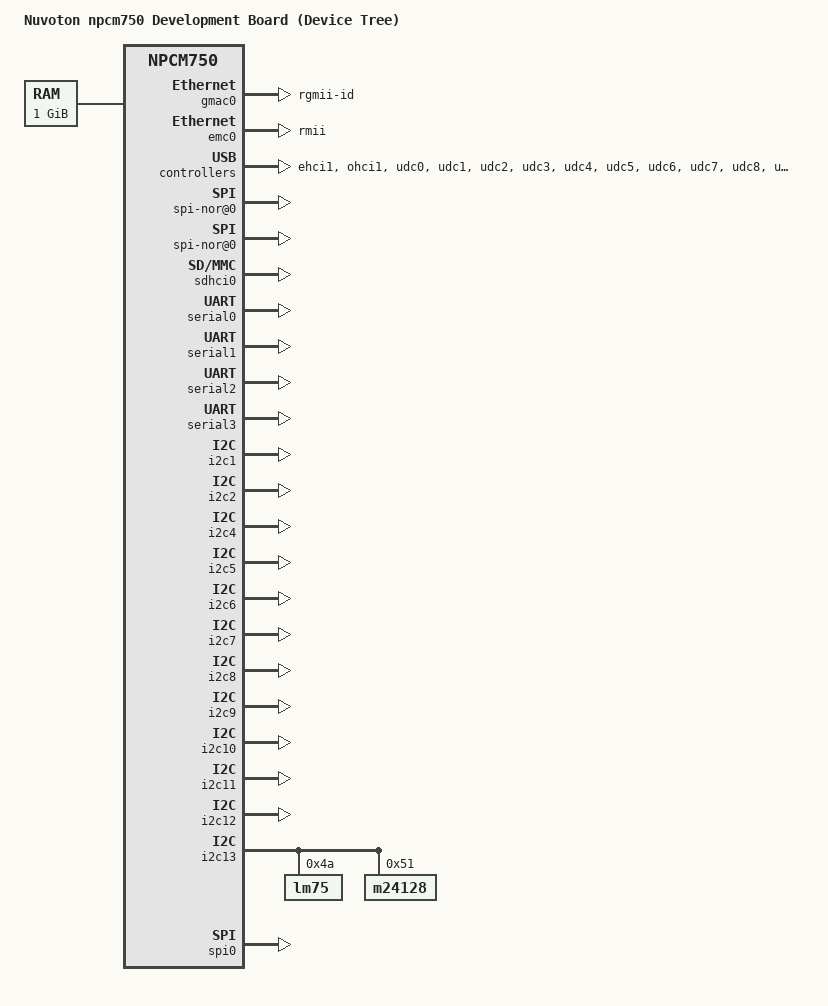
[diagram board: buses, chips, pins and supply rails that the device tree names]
// SPDX-License-Identifier: GPL-2.0
// Copyright (c) 2018 Nuvoton Technology tomer.maimon@nuvoton.com
// Copyright 2018 Google, Inc.

/dts-v1/;
#include "nuvoton-npcm750.dtsi"

/ {
	model = "Nuvoton npcm750 Development Board (Device Tree)";
	compatible = "nuvoton,npcm750";

	aliases {
		ethernet0 = &emc0;
		ethernet1 = &gmac0;
		serial0 = &serial0;
		serial1 = &serial1;
		serial2 = &serial2;
		serial3 = &serial3;
		udc0 = &udc0;
		udc1 = &udc1;
		udc2 = &udc2;
		udc3 = &udc3;
		udc4 = &udc4;
		udc5 = &udc5;
		udc6 = &udc6;
		udc7 = &udc7;
		udc8 = &udc8;
		udc9 = &udc9;
		emmc0 = &sdhci0;
		i2c0 = &i2c0;
		i2c1 = &i2c1;
		i2c2 = &i2c2;
		i2c3 = &i2c3;
		i2c4 = &i2c4;
		i2c5 = &i2c5;
		i2c6 = &i2c6;
		i2c7 = &i2c7;
		i2c8 = &i2c8;
		i2c9 = &i2c9;
		i2c10 = &i2c10;
		i2c11 = &i2c11;
		i2c12 = &i2c12;
		i2c13 = &i2c13;
		i2c14 = &i2c14;
		i2c15 = &i2c15;
		spi0 = &spi0;
		spi1 = &spi1;
		fiu0 = &fiu0;
		fiu1 = &fiu3;
		fiu2 = &fiux;
	};

	chosen {
		stdout-path = &serial3;
	};

	memory {
		reg = <0 0x40000000>;
	};

	ahb {
	    gmac0: eth@f0802000 {
			reg = <0xf0802000 0x2000
			       0xf0826000 0x0304>;
			phy-mode = "rgmii-id";
			pinctrl-0 = <&rg1_pins
			             &r2md_pins>;
			status = "okay";
		};

		emc0: eth@f0825000 {
			phy-mode = "rmii";
			#use-ncsi; /* add this to support ncsi */
			status = "okay";
		};

		ehci1: usb@f0806000 {
			status = "okay";
		};

		ohci1: ohci@f0807000 {
			status = "okay";
		};

		udc0:udc@f0830000 {
			status = "okay";
		};

		udc1:udc@f0831000 {
			status = "okay";
		};

		udc2:udc@f0832000 {
			status = "okay";
		};

		udc3:udc@f0833000 {
			status = "okay";
		};

		udc4:udc@f0834000 {
			status = "okay";
		};

		udc5:udc@f0835000 {
			status = "okay";
		};

		udc6:udc@f0836000 {
			status = "okay";
		};

		udc7:udc@f0837000 {
			status = "okay";
		};

		udc8:udc@f0838000 {
			status = "okay";
		};

		udc9:udc@f0839000 {
			status = "okay";
		};

		aes:aes@f0858000 {
			status = "okay";
		};

		sha:sha@f085a000 {
			status = "okay";
		};

		fiu0: fiu@fb000000 {
			status = "okay";
			spi-nor@0 {
				compatible = "jedec,spi-nor";
				#address-cells = <1>;
				#size-cells = <1>;
				spi-rx-bus-width = <2>;
				reg = <0>;				
				partitions@80000000 {
					compatible = "fixed-partitions";
					#address-cells = <1>;
					#size-cells = <1>;
					bbuboot1@0 {
						label = "bb-uboot-1";
						reg = <0x0000000 0x80000>;
						read-only;
						};
					bbuboot2@80000 {
						label = "bb-uboot-2";
						reg = <0x0080000 0x80000>;
						read-only;
						};
					envparam@100000 {
						label = "env-param";
						reg = <0x0100000 0x40000>;
						read-only;
						};
					spare@140000 {
						label = "spare";
						reg = <0x0140000 0xC0000>;
						};
					kernel@200000 {
						label = "kernel";
						reg = <0x0200000 0x400000>;
						};
					rootfs@600000 {
						label = "rootfs";
						reg = <0x0600000 0x700000>;
						};
					spare1@D00000 {
						label = "spare1";
						reg = <0x0D00000 0x200000>;
						};
					spare2@0F00000 {
						label = "spare2";
						reg = <0x0F00000 0x200000>;
						};
					spare3@1100000 {
						label = "spare3";
						reg = <0x1100000 0x200000>;
						};
					spare4@1300000 {
						label = "spare4";
						reg = <0x1300000 0x0>;
					};
				};
			};
			/*spi-nor@1 {
				partitions@88000000 {
					compatible = "fixed-partitions";
					#address-cells = <1>;
					#size-cells = <1>;
					spare1@0 {
						label = "spi0-cs1-spare1";
						reg = <0x0 0x2000000>;
					};
					spare2@800000 {
						label = "spi0S-cs1-spare2";
						reg = <0x2000000 0x0>;
					};
				};
			};*/
		};

		fiu3: fiu@c0000000 {
			status = "okay";
			spi-nor@0 {
				compatible = "jedec,spi-nor";
				#address-cells = <1>;
				#size-cells = <1>;
				spi-rx-bus-width = <2>;
				reg = <0>;				
				partitions@A0000000 {
					compatible = "fixed-partitions";
					#address-cells = <1>;
					#size-cells = <1>;
					system1@0 {
						label = "spi3-system1";
						reg = <0x0 0x800000>;
					};
					system2@800000 {
						label = "spi3-system2";
						reg = <0x800000 0x0>;
					};
				};
			};
		};


		sdhci0: sdhci@f0842000 {
			status = "okay";
		};

		pcimbox: pcimbox@f0848000 {
			status = "okay";
		};

		vcd: vcd@f0810000 {
			status = "okay";
		};

		ece: ece@f0820000 {
			status = "okay";
		};

		apb {

			watchdog1: watchdog@901C {
				status = "okay";
			};

			rng: rng@b000 {
				status = "okay";
			};

			serial0: serial@1000 {
				status = "okay";
			};

			serial1: serial@2000 {
				status = "okay";
			};

			serial2: serial@3000 {
				status = "okay";
			};

			serial3: serial@4000 {
				status = "okay";
			};

			otp:otp@189000 {
				status = "okay";
			};

			lpc_kcs: lpc_kcs@7000 {
				kcs1: kcs1@0 {
					status = "okay";
				};

				kcs2: kcs2@0 {
					status = "okay";
				};

				kcs3: kcs3@0 {
					status = "okay";
				};
			};

			lpc_host: lpc_host@7000 {
				lpc_bpc: lpc_bpc@40 {
					monitor-ports = <0x80>;
					status = "okay";
				};
			};

			i2c0: i2c-bus@80000 {
				#address-cells = <1>;
				#size-cells = <0>;
				bus-frequency = <100000>;
				status = "disabled";
			};

			i2c1: i2c-bus@81000 {
				#address-cells = <1>;
				#size-cells = <0>;
				bus-frequency = <100000>;
				status = "okay";
			};

			i2c2: i2c-bus@82000 {
				#address-cells = <1>;
				#size-cells = <0>;
				bus-frequency = <100000>;
				status = "okay";
			};

			i2c3: i2c-bus@83000 {
				#address-cells = <1>;
				#size-cells = <0>;
				bus-frequency = <100000>;
				status = "disabled";
			};

			i2c4: i2c-bus@84000 {
				#address-cells = <1>;
				#size-cells = <0>;
				bus-frequency = <100000>;
				status = "okay";
			};

			i2c5: i2c-bus@85000 {
				#address-cells = <1>;
				#size-cells = <0>;
				bus-frequency = <100000>;
				status = "okay";
			};

			i2c6: i2c-bus@86000 {
				#address-cells = <1>;
				#size-cells = <0>;
				bus-frequency = <100000>;
				status = "okay";
			};

			i2c7: i2c-bus@87000 {
				#address-cells = <1>;
				#size-cells = <0>;
				bus-frequency = <100000>;
				status = "okay";
			};

			i2c8: i2c-bus@88000 {
				#address-cells = <1>;
				#size-cells = <0>;
				bus-frequency = <100000>;
				status = "okay";
			};

			i2c9: i2c-bus@89000 {
				#address-cells = <1>;
				#size-cells = <0>;
				bus-frequency = <100000>;
				status = "okay";
			};

			i2c10: i2c-bus@8a000 {
				#address-cells = <1>;
				#size-cells = <0>;
				bus-frequency = <100000>;
				status = "okay";
			};

			i2c11: i2c-bus@8b000 {
				#address-cells = <1>;
				#size-cells = <0>;
				bus-frequency = <100000>;
				status = "okay";
			};

			i2c12: i2c-bus@8c000 {
				#address-cells = <1>;
				#size-cells = <0>;
				bus-frequency = <100000>;
				status = "okay";
			};

			i2c13: i2c-bus@8d000 {
				#address-cells = <1>;
				#size-cells = <0>;
				bus-frequency = <100000>;
				status = "okay";
				lm75@94 {
					compatible = "lm75";
					reg = <0x4A>;
					status = "okay";
				};
				m24128@A2 {
					compatible = "m24128";
					reg = <0x51>;
					status = "okay";
				};
				 ATtiny1634@A7 {
					compatible = " ATtiny1634";
					reg = <0x52>;
					status = "disabled";
				};
			};

			i2c14: i2c-bus@8e000 {
				#address-cells = <1>;
				#size-cells = <0>;
				bus-frequency = <100000>;
				status = "disabled";
			};

			i2c15: i2c-bus@8f000 {
				#address-cells = <1>;
				#size-cells = <0>;
				bus-frequency = <100000>;
				status = "disabled";
			};

			pwm_fan:pwm-fan-controller@103000 {
				status = "okay";
				fan@0 {
					reg = <0x00>;
					fan-tach-ch = /bits/ 8 <0x00 0x01>;
					cooling-levels = <127 255>;
				};
				fan@1 {
					reg = <0x01>;
					fan-tach-ch = /bits/ 8 <0x02 0x03>;
					cooling-levels = /bits/ 8 <127 255>;
				};
				fan@2 {
					reg = <0x02>;
					fan-tach-ch = /bits/ 8 <0x04 0x05>;
					cooling-levels = /bits/ 8 <127 255>;
				};
				fan@3 {
					reg = <0x03>;
					fan-tach-ch = /bits/ 8 <0x06 0x07>;
					cooling-levels = /bits/ 8 <127 255>;
				};
				fan@4 {
					reg = <0x04>;
					fan-tach-ch = /bits/ 8 <0x08 0x09>;
					cooling-levels = /bits/ 8 <127 255>;
				};
				fan@5 {
					reg = <0x05>;
					fan-tach-ch = /bits/ 8 <0x0A 0x0B>;
					cooling-levels = /bits/ 8 <127 255>;
				};
				fan@6 {
					reg = <0x06>;
					fan-tach-ch = /bits/ 8 <0x0C 0x0D>;
					cooling-levels = /bits/ 8 <127 255>;
				};
				fan@7 {
					reg = <0x07>;
					fan-tach-ch = /bits/ 8 <0x0E 0x0F>;
					cooling-levels = /bits/ 8 <127 255>;
				};
			};

			spi0: spi@200000 {
				status = "okay";
			};
		};
	};

	pinctrl: pinctrl@f0800000 {
		pinctrl-names = "default";
		pinctrl-0 = < &gpio5_pins	/* FM_CPU0_BMC_PROCHOT_LVT3_N */
				&gpio4_pins			/* FM_CPU1_PROCHOT_BMC_N */
				&gpio7_pins			/* PVCCIN_CPU0_VRHOT_BMC_N */
				&gpio6_pins			/* PVCCIN_CPU1_VRHOT_BMC_N */
				&bmcuart0a_pins		/* BSPR(T)XD/BMC_COM5_UART_R(T)X_R */
				&uart1_pins			/* GPIO43/RXD1 GPIO63/TXD1 */
				&uart2_pins			/* GPIO49/RXD2 GPIO48/TXD2 */
				&gpio10_pins		/* H_CPU0_FAST_BMC_WAKE_N */
				&gpio11_pins		/* FM_CPU_ERR0_LVT3_N */
				&gpio24_pins		/* FM_CPU_ERR1_LVT3_N */
				&gpio25_pins		/* FM_CPU_ERR2_LVT3_N */
				&gpio82_pins		/* IRQ_HSC_FAULT_N */
				&gpio144_pins		/* FM_CPU0_THERMTRIP_BMC_N */
				&gpio146_pins		/* FM_CPU1_THERMTRIP_BMC_N */
				&gpio83_pins		/* FM_PWRBTN_BMC_IN_N/PWM3_DISABLE */
				&gpio145_pins		/* RST_SYSTEM_BTN_BMC_IN_N/PWM5_DISABLE */
				&gpio147_pins		/* FM_UART_PI7C9X1172_1_ALT_N_R/PWM7_DISABLE */
				&gpio76_pins		/* BMC_NODE_ID_2_R FMIN12_DISABLE */
				&gpio77_pins		/* BMC_NODE_ID_3_R FMIN13_DISABLE */
				&gpio78_pins		/* BMC_XDP_OBSFN_R1_A0 FMIN14_DISABLE */
				&gpio79_pins		/* BMC_XDP_OBSFN_A1 FMIN15_DISABLE */
				&gpio31_pins		/* PSU1_THROTTLE_N/SMB3_DISABLE */
				&gpio30_pins		/* POWER_FAIL_BMC_N/SMB3_DISABLE*/
				&gpio23_pins		/* PWRGD_PCH_BMC_PWROK SMB14_DISABLE  */
				&gpio22ol_pins		/* TCK_MUX_SEL SMB14_DISABLE  */
				&gpio21_pins		/* FM_UARTSW_LSB_N SMB15_DISABLE  */
				&gpio20_pins		/* FM_UARTSW_MSB_N SMB15_DISABLE  */
				&gpio114ol_pins		/* BMC_PWRCAP_N SMB0_DISABLE */
				&gpio115_pins		/* IRQ_BMC_PCH_NMI_STBY_N SMB0_DISABLE */
				&ddc_pins			/* HSYNC2 VSYNC2 DDC2_SCL DDC2_SDA */
				&gpio203o_pins		/* GPIO Output High (Module or MB SPI-to-UART) */
				&gpio84_pins		/* IRQ_SML0_ALERT_N */
				&gpio85ol_pins		/* BMC_FORCE_NM_THROTTLE_R1_N */
				&gpio86ol_pins		/* FM_FORCE_ADR_BMC */
				&gpio87_pins		/* BMC_NODE_ID_0_R */
				&gpio88_pins		/* BMC_NODE_ID_1_R */
				&gpio89_pins		/* HSC_GPIO1_BMC_N */
				&gpio90_pins		/* HSC_GPIO2_BMC_N */
				&gpio200_pins		/* SMB_BMC_MM13_ALT_N */
				&gpio136_pins		/* BMC_XDP_CPU_PWR_DEBUG_N */
				&gpio137_pins		/* FM_SLPS4_N */
				&gpio138_pins		/* FM_SLPS3_N */
				&gpio139_pins		/* FM_BMC_NMI_N */
				&gpio140_pins		/* IRQ_DIMM_SAVE_LVT3_N */
				&gpio141_pins		/* FM_POST_CARD_PRES_BMC_N */
				&gpio142_pins		/* FM_ADR_COMPLETE */
				&gpio143_pins		/* FM_THROTTLE_IN_N */
				&gpio188ol_pins		/* RST_IOEXP_G2_N_R */
				&gpio189_pins		/* SMB_ALERT_IOEXP_G2_N */
				&gpio225ol_pins		/* FM_BACKUP_BIOS_SEL */
				&gpio226ol_pins		/* BMC_SELF_HW_RST */
				&gpio229ol_pins		/* BMC_XDP_SYSPWROK */
				&gpio230_pins		/* FM_SYS_THROTTLE_N */
				&gpio224_pins		/* SMB_ALERT_IOEXP_G1_N */
				&gpio228ol_pins		/* RST_IOEXP_G1_N */
				&gpio227ol_pins		/* FM_BIOS_SPI_BMC_CTRL */
				&gpio199o_pins
				&gpio202_pins		/* IRQ_PCH_LOM_ALERT_N */
				&gpio127o_pins
				&gpio198o_pins
				&gpio124_pins		/* FM_CPU0_FIVR_FAULT_LVT3_R_N */
				&gpio125_pins		/* FM_CPU1_FIVR_FAULT_LVT3_R_N */
				&gpio126_pins		/* VOLTAGE_ALERT_R1_N */
				&gpio93_pins		/* CURRENT_ALERT_R1_N */
				&wdog1_pins
				&wdog2_pins
				&gpio160o_pins		/* FM_BMC_ONCTL_R_N */
				&gpio169o_pins		/* LPC_PME_BMC_N */
				&gpio231ol_pins		/* BMC_XDP_PRSNT_OUT_N */
				&lkgpo1_pins
				&gpio196_pins		/* BMC_NODE_ID_4_R */
				&gpio197_pins		/* BMC_NODE_ID_5_R */
				&gpio155_pins		/* BMC_XDP_RSMRST_N */
				&gpio153ol_pins		/* BMC_XDP_CPU_PWR_DEBUG_N */
				&gpio59_pins		/* BMC_XDP_PRSNT_IN_N */
				&gpio40ol_pins		/* BMC_XDP_JTAG_SEL_N */
				&gpio122_pins		/* FM_CPU_BMC_MSMI_CATERR_BMC_N */
				&gpio121_pins		/* BMC_XDP_ITP_PMODE */
				&gpio120_pins		/* FM_BIOS_SMI_ACTIVE_N */
				&gpio123_pins		/* IRQ_OOB_MGMT_RISER_ALERT_N */
				&lpc_pins
				&gpio168_pins
				&gpio12ol_pins
				&gpio13ol_pins
				&gpio14ol_pins
				&gpio15ol_pins
				&gpio39_pins		/* Use as INT from TMP75AIDR on I2C13 */
				&gpio208_pins
				&gpio209ol_pins
				&gpio112ol_pins
				&gpio113ol_pins
				&gpio209ol_pins
				&gpio210ol_pins
				&gpio211ol_pins
				&gpio212ol_pins
				&gpio213ol_pins
				&gpio214ol_pins
				&gpio215ol_pins
				&gpio216ol_pins
				&gpio217ol_pins
				&gpio9ol_pins
				&gpio94ol_pins		/* RGMII CLK (depop R2797 on MB) */
				&gpio108ol_pins
				&gpio109ol_pins
				&gpio110ol_pins		/* Use for ARM HEARTBEAT (GREEN LED) */
				&gpio111ol_pins		/* Use for CP HEARTBEAT (YELLOW LED)*/
				&gpio37o_pins		/* uCP ATtiny1634 reset input */
				&gpio38_pins		/* Used for uCP ATtiny1634 INT */
				&gpio0ol_pins		/* UART RXA (Input) On-Moudle SPI to UART (SPI2 / CS0)*/
				&gpio1ol_pins		/* UART TXA (Output) On-Moudle SPI to UART (SPI2 / CS0) */
				&gpio2ol_pins		/* UART RXB (Input)  On-Moudle SPI to UART (SPI2 / CS0) */
				&gpio3ol_pins		/* UART TXB (Output)  On-Moudle SPI to UART (SPI2 / CS0) */>;
	};

	jtag {
		compatible = "nuvoton,npcm750-jtag";
		enable_pspi_jtag = <1>;
		pspi-index = <2>;
		tck {
			label = "tck";
			gpios = <&gpio0 19 0>;
			reg = <0xf0010000 0x1000>;
			offset = <19>;
		};

		tdi {
			label = "tdi";
			gpios = <&gpio0 17 0>;
			reg = <0xf0010000 0x1000>;
			offset = <17>;
		};

		tdo {
			label = "tdo";
			gpios = <&gpio0 18 0>;
			reg = <0xf0010000 0x1000>;
			offset = <18>;
		};

		tms {
			label = "tms";
			gpios = <&gpio0 16 0>;
			reg = <0xf0010000 0x1000>;
			offset = <16>;
		};
/*
		trst {
			label = "trst";
			gpios = <&gpio5 0 0>;
			reg = <0xf0015000 0x1000>;
			offset = <0>;
		};
*/
	 };

};

&gcr {
	serial_port_mux: mux-controller {
	compatible = "mmio-mux";
	#mux-control-cells = <1>;

	mux-reg-masks = <0x38 0x07>;
	idle-states = <2>; /* Serial port mode 3 (takeover) */
	};
};
